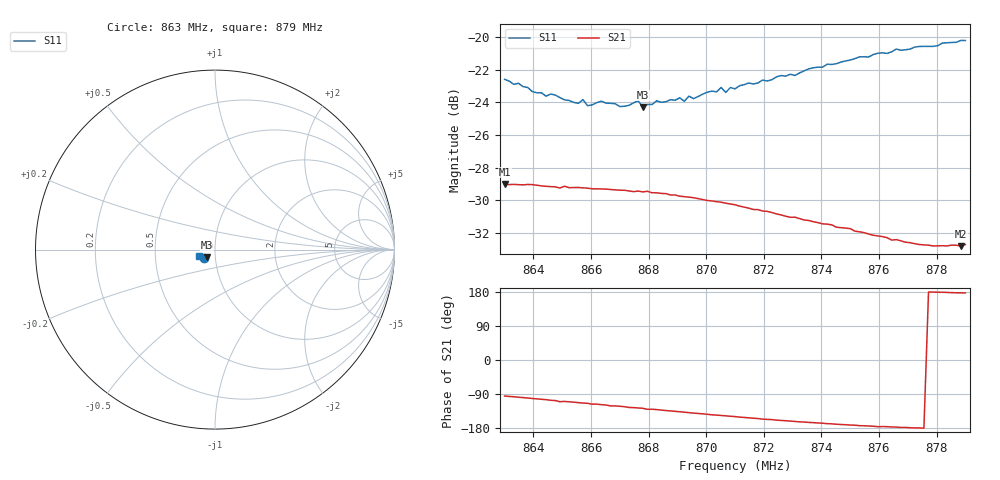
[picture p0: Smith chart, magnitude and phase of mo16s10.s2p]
# HZ S RI R 50
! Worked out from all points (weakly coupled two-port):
!   101 points, 863 MHz to 879 MHz, reference 50 ohm
!   highest |S21| = -29.01 dB at 863 MHz (marker M1); lowest = -32.8 dB at 878.84 MHz (marker M2)
!   lowest |S11| = -24.3 dB at 867.8 MHz (marker M3), VSWR 1.13, Z = 45.8 - j4.02 ohm
!   |S11| at or under -10 dB: start of sweep to end of sweep
!   S12 and S22 are empty: the file has one direction only
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8.63e8  -0.059 -0.045  -0.00305 -0.0353  0 0  0 0
8.6444e8  -0.0509 -0.0419  -0.00882 -0.0337  0 0  0 0
8.646e8  -0.0511 -0.0432  -0.00976 -0.0334  0 0  0 0
8.6556e8  -0.0474 -0.041  -0.0132 -0.032  0 0  0 0
8.6572e8  -0.0477 -0.0431  -0.0138 -0.0316  0 0  0 0
8.6588e8  -0.046 -0.041  -0.0141 -0.0314  0 0  0 0
8.6636e8  -0.0469 -0.0429  -0.016 -0.0303  0 0  0 0
8.67e8  -0.0442 -0.0424  -0.0181 -0.0287  0 0  0 0
8.6764e8  -0.0443 -0.0459  -0.0201 -0.0271  0 0  0 0
8.678e8  -0.0425 -0.0438  -0.0204 -0.0266  0 0  0 0
8.6844e8  -0.0429 -0.0463  -0.0222 -0.0246  0 0  0 0
8.6908e8  -0.0439 -0.0482  -0.0236 -0.0224  0 0  0 0
8.6924e8  -0.0431 -0.0468  -0.024 -0.0219  0 0  0 0
8.694e8  -0.0442 -0.0488  -0.0244 -0.0212  0 0  0 0
8.6956e8  -0.0435 -0.048  -0.0247 -0.0207  0 0  0 0
8.7052e8  -0.0461 -0.0528  -0.026 -0.0172  0 0  0 0
8.7068e8  -0.0446 -0.0509  -0.0261 -0.0167  0 0  0 0
8.71e8  -0.0469 -0.0511  -0.0263 -0.0156  0 0  0 0
8.7372e8  -0.0581 -0.0558  -0.0263 -0.00691  0 0  0 0
8.7644e8  -0.0758 -0.0487  -0.0238 -0.00134  0 0  0 0
8.7884e8  -0.0913 -0.0347  -0.0228 0.0011  0 0  0 0
8.79e8  -0.0919 -0.0331  -0.0231 0.00122  0 0  0 0
